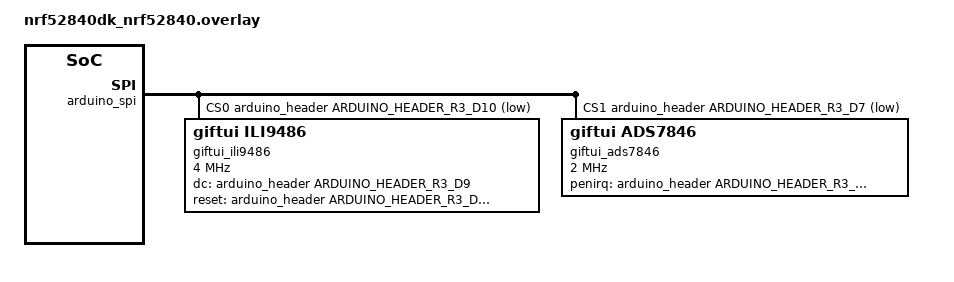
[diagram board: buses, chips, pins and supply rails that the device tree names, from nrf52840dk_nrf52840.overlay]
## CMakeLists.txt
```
cmake_minimum_required(VERSION 3.29)

find_package(Zephyr REQUIRED HINTS $ENV{ZEPHYR_BASE})

if(NOT DEFINED GIFTUI_SWIFT_TARGET)
    message(FATAL_ERROR "GIFTUI_SWIFT_TARGET must be supplied by scripts/nrf52840/build.sh")
endif()
set(CMAKE_Swift_COMPILER_TARGET "${GIFTUI_SWIFT_TARGET}")
set(CMAKE_Swift_COMPILATION_MODE wholemodule)
set(CMAKE_Swift_COMPILER_WORKS TRUE CACHE BOOL "Embedded Swift cross-compiler" FORCE)
project(GiftUIILI9486BringUp LANGUAGES C Swift)

target_sources(app PRIVATE
    src/ads7846.c
    src/fault.c
    src/heap_disabled.c
    src/ili9486.c
    src/main.c
)
target_include_directories(app PRIVATE include)

if(CONFIG_FP_HARDABI)
    set(giftui_swift_float_abi hard)
elseif(CONFIG_FP_SOFTABI)
    set(giftui_swift_float_abi soft)
else()
    message(FATAL_ERROR "Zephyr did not resolve an ARM float ABI")
endif()

get_target_property(zephyr_defines zephyr_interface INTERFACE_COMPILE_DEFINITIONS)
set(giftui_root "${CMAKE_CURRENT_SOURCE_DIR}/../../../..")
set(giftui_swift_module_dir "${CMAKE_CURRENT_BINARY_DIR}/swift-modules")

function(giftui_configure_swift_target target module_name)
    add_dependencies(${target} syscall_list_h_target)
    set_target_properties(${target} PROPERTIES
        Swift_MODULE_NAME "${module_name}"
        Swift_MODULE_DIRECTORY "${giftui_swift_module_dir}"
    )
    target_compile_options(${target} PRIVATE
        -parse-as-library
        -Osize
        -enable-experimental-feature Embedded
        -package-name GiftUI
        "SHELL:-Xfrontend -function-sections"
        "SHELL:-Xfrontend -disable-stack-protector"
        "SHELL:-Xcc -mfloat-abi=${giftui_swift_float_abi}"
        "SHELL:-Xcc -fshort-enums"
        "SHELL:-Xcc -fno-pic"
        "SHELL:-Xcc -fno-pie"
        "SHELL:-Xcc -I -Xcc ${ZEPHYR_SDK_INSTALL_DIR}/arm-zephyr-eabi/picolibc/include"
    )
    foreach(flag ${TOOLCHAIN_C_FLAGS})
        string(FIND "${flag}" "-imacro" is_imacro)
        string(FIND "${flag}" "-mfp16-format" is_mfp16)
        string(FIND "${flag}" "--sysroot" is_sysroot)
        if(is_imacro EQUAL -1 AND is_mfp16 EQUAL -1 AND is_sysroot EQUAL -1)
            target_compile_options(${target} PRIVATE "SHELL:-Xcc ${flag}")
        endif()
    endforeach()
    if(zephyr_defines)
        foreach(flag ${zephyr_defines})
            string(FIND "${flag}" "$<" is_expression)
            if(is_expression EQUAL -1)
                target_compile_options(${target} PRIVATE "SHELL:-Xcc -D${flag}")
            endif()
        endforeach()
    endif()
    target_include_directories(${target} PRIVATE
        "${giftui_swift_module_dir}"
        "$<TARGET_PROPERTY:app,INCLUDE_DIRECTORIES>"
    )
endfunction()

add_library(giftui_core OBJECT
    ${giftui_root}/Sources/GiftUI/GiftUI.swift
    ${giftui_root}/Sources/GiftUI/Geometry/Point.swift
    ${giftui_root}/Sources/GiftUI/Geometry/ProposedSize.swift
    ${giftui_root}/Sources/GiftUI/Geometry/Rect.swift
    ${giftui_root}/Sources/GiftUI/Geometry/Size.swift
    ${giftui_root}/Sources/GiftUI/Input/ActionID.swift
    ${giftui_root}/Sources/GiftUI/Input/HitRegion.swift
    ${giftui_root}/Sources/GiftUI/Input/InputEvent.swift
    ${giftui_root}/Sources/GiftUI/Layout/LayoutArithmetic.swift
    ${giftui_root}/Sources/GiftUI/Rendering/Color.swift
    ${giftui_root}/Sources/GiftUI/Rendering/RenderBackend.swift
    ${giftui_root}/Sources/GiftUI/Rendering/RenderOperation.swift
    ${giftui_root}/Sources/GiftUI/Rendering/RenderOperationSink.swift
    ${giftui_root}/Sources/GiftUI/Rendering/TextRun.swift
    ${giftui_root}/Sources/GiftUI/Runtime/RuntimeProfile.swift
    ${giftui_root}/Sources/GiftUI/View/PrimitiveView.swift
    ${giftui_root}/Sources/GiftUI/View/View.swift
    ${giftui_root}/Sources/GiftUI/View/ViewBuilder.swift
    ${giftui_root}/Sources/GiftUI/View/ViewVisitor.swift
    ${giftui_root}/Sources/GiftUI/Composition/ConditionalContent.swift
    ${giftui_root}/Sources/GiftUI/Composition/EmptyView.swift
    ${giftui_root}/Sources/GiftUI/Composition/OptionalContent.swift
    ${giftui_root}/Sources/GiftUI/Composition/TupleView.swift
    ${giftui_root}/Sources/GiftUI/Containers/HStack.swift
    ${giftui_root}/Sources/GiftUI/Containers/VStack.swift
    ${giftui_root}/Sources/GiftUI/PrimitiveViews/Button.swift
    ${giftui_root}/Sources/GiftUI/PrimitiveViews/Text.swift
)
giftui_configure_swift_target(giftui_core GiftUI)

add_library(giftui_builtin_font OBJECT
    ${giftui_root}/Sources/GiftUIBuiltinFont/BuiltinFont8x12.swift
    ${giftui_root}/Sources/GiftUIBuiltinFont/GiftUIBuiltinFont.swift
)
giftui_configure_swift_target(giftui_builtin_font GiftUIBuiltinFont)

add_library(giftui_runtime_static OBJECT
    ${giftui_root}/Sources/GiftUIRuntimeStatic/GiftUIRuntimeStatic.swift
    ${giftui_root}/Sources/GiftUIRuntimeStatic/StaticStateStorage.swift
    ${giftui_root}/Sources/GiftUIRuntimeStatic/StaticRuntime.swift
)
giftui_configure_swift_target(giftui_runtime_static GiftUIRuntimeStatic)
target_link_libraries(giftui_runtime_static PRIVATE giftui_core)

add_library(giftui_rgb565 OBJECT
    ${giftui_root}/Sources/GiftUIBackendRGB565/GiftUIBackendRGB565.swift
    ${giftui_root}/Sources/GiftUIBackendRGB565/RGB565Pixel.swift
    ${giftui_root}/Sources/GiftUIBackendRGB565/RGB565RetainedRenderer.swift
    ${giftui_root}/Sources/GiftUIBackendRGB565/RGB565RendererConfiguration.swift
    ${giftui_root}/Sources/GiftUIBackendRGB565/RGB565TileRenderer.swift
    ${giftui_root}/Sources/GiftUIBackendRGB565/RGB565TileStorage.swift
)
giftui_configure_swift_target(giftui_rgb565 GiftUIBackendRGB565)
target_link_libraries(giftui_rgb565 PRIVATE giftui_core giftui_builtin_font)

add_library(giftui_ads7846_input OBJECT
    ${giftui_root}/Sources/GiftUIInputADS7846/GiftUIInputADS7846.swift
    ${giftui_root}/Sources/GiftUIInputADS7846/ADS7846RawSample.swift
    ${giftui_root}/Sources/GiftUIInputADS7846/ADS7846Calibration.swift
    ${giftui_root}/Sources/GiftUIInputADS7846/ADS7846TouchProcessor.swift
)
giftui_configure_swift_target(giftui_ads7846_input GiftUIInputADS7846)
target_link_libraries(giftui_ads7846_input PRIVATE giftui_core)

add_library(giftui_thermostat_view OBJECT
    ${giftui_root}/Sources/GiftUIExampleThermostatPortableView/ThermostatModel.swift
    ${giftui_root}/Sources/GiftUIExampleThermostatPortableView/ThermostatPortableView.swift
)
giftui_configure_swift_target(
    giftui_thermostat_view
    GiftUIExampleThermostatPortableView
)
target_link_libraries(giftui_thermostat_view PRIVATE giftui_core)

add_library(app_swift OBJECT src/ILI9486BringUp.swift)
giftui_configure_swift_target(app_swift GiftUIILI9486BringUp)
target_link_libraries(app_swift PRIVATE
    giftui_ads7846_input
    giftui_core
    giftui_rgb565
    giftui_runtime_static
    giftui_thermostat_view
)

target_link_libraries(app PRIVATE
    app_swift
    giftui_ads7846_input
    giftui_builtin_font
    giftui_core
    giftui_rgb565
    giftui_runtime_static
    giftui_thermostat_view
)
set_target_properties(app PROPERTIES LINKER_LANGUAGE C)
```

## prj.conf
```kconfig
CONFIG_GPIO=y
CONFIG_SPI=y
CONFIG_FPU=y
CONFIG_SERIAL=y
CONFIG_CONSOLE=y
CONFIG_UART_CONSOLE=y
CONFIG_PRINTK=y
CONFIG_STDOUT_CONSOLE=y
CONFIG_BUILD_OUTPUT_HEX=y
CONFIG_BUILD_OUTPUT_BIN=y
CONFIG_OUTPUT_PRINT_MEMORY_USAGE=y
CONFIG_HEAP_MEM_POOL_SIZE=0
CONFIG_COMMON_LIBC_MALLOC_ARENA_SIZE=0
CONFIG_INIT_STACKS=y
CONFIG_THREAD_STACK_INFO=y
# The Embedded Swift renderer owns a 3,840-byte inline tile plus its bounded
# layout arena on the main stack. Reducing the tile from 15,360 bytes permits
# this conservative 24 KiB candidate; Phase 7 runtime high-water telemetry must
# confirm at least 25% margin on connected hardware before it is accepted.
CONFIG_MAIN_STACK_SIZE=24576
```

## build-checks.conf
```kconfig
swift-entry-symbol=giftui_swift_display_application_run
required-symbol=GiftUIBackendRGB565
required-symbol=GiftUIRuntimeStatic
required-symbol=GiftUIInputADS7846
zero-heap=true
```

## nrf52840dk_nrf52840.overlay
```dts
#include <zephyr/dt-bindings/gpio/arduino-header-r3.h>

/ {
	aliases {
		giftui-ads7846 = &giftui_ads7846;
		giftui-ili9486 = &giftui_ili9486;
	};
};

&arduino_spi {
	status = "okay";
	cs-gpios = <&arduino_header ARDUINO_HEADER_R3_D10 GPIO_ACTIVE_LOW>,
		     <&arduino_header ARDUINO_HEADER_R3_D7 GPIO_ACTIVE_LOW>;

	giftui_ili9486: display@0 {
		compatible = "giftui,ili9486";
		reg = <0>;
		spi-max-frequency = <4000000>;
		dc-gpios = <&arduino_header ARDUINO_HEADER_R3_D9 GPIO_ACTIVE_HIGH>;
		reset-gpios = <&arduino_header ARDUINO_HEADER_R3_D8 GPIO_ACTIVE_LOW>;
	};

	giftui_ads7846: touch@1 {
		compatible = "giftui,ads7846";
		reg = <1>;
		spi-max-frequency = <2000000>;
		penirq-gpios = <&arduino_header ARDUINO_HEADER_R3_D6 GPIO_ACTIVE_LOW>;
	};
};
```

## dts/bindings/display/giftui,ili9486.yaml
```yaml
title: GiftUI project-local PiScreen ILI9486 parallel-bridge display

description: |
  Hardware bring-up binding for the ILI9486 PiScreen used by GiftUI. The
  PiScreen SPI-to-16-bit-parallel converter carries zero-extended commands and
  parameters plus native RGB565 pixel words. The application owns controller
  initialization and bounded transfers.

compatible: "giftui,ili9486"

include: spi-device.yaml

properties:
  dc-gpios:
    type: phandle-array
    required: true
    description: Command/data select; active means pixel or command data.

  reset-gpios:
    type: phandle-array
    required: true
    description: Active-low controller hardware reset.

  backlight-gpios:
    type: phandle-array
    description: |
      Optional verified backlight enable. Omit until the PiScreen backlight
      polarity and transistor stage have been confirmed on the exact board.
```

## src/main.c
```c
#include "ads7846.h"
#include "giftui_fault.h"
#include "ili9486.h"

#include <zephyr/kernel.h>
#include <zephyr/sys/printk.h>

uint32_t giftui_display_uptime_ms(void)
{
    return k_uptime_get_32();
}

void giftui_display_sleep_ms(uint32_t milliseconds)
{
    k_msleep(milliseconds);
}

void giftui_display_log(int32_t event, int32_t value)
{
    switch (event) {
    case 1:
        printk("GiftUI ILI9486 initialization failed: %d\n", value);
        break;
    case 2:
        printk("GiftUI ILI9486 color bars failed: %d\n", value);
        break;
    case 3:
        printk("GiftUI ILI9486 color bars transferred in %d ms\n", value);
        break;
    case 4:
        printk("GiftUI thermostat transferred in %d ms\n", value);
        break;
    case 5:
        printk("GiftUI ILI9486 tile transfer failed: %d\n", value);
        break;
    case 6:
        printk("GiftUI static render failed\n");
        break;
    case 7:
        printk("GiftUI ADS7846 read failed: %d\n", value);
        break;
    case 8:
        printk("GiftUI ADS7846 touch calibration target %d\n", value);
        break;
    case 9:
        printk("GiftUI ADS7846 calibration failed: %d\n", value);
        break;
    case 10:
        printk("GiftUI ADS7846 calibration ready\n");
        break;
    case 11:
        printk("GiftUI thermostat target changed to %d\n", value);
        break;
    case 12:
        printk("GiftUI touch release to visible update: %d ms\n", value);
        break;
    default:
        printk("GiftUI display event %d: %d\n", event, value);
        break;
    }
}

void giftui_display_log_stack(void)
{
    size_t unused = 0U;
    const int result = k_thread_stack_space_get(k_current_get(), &unused);
    if (result != 0 || unused > CONFIG_MAIN_STACK_SIZE) {
        printk("GiftUI main stack measurement failed: %d\n", result);
        return;
    }

    printk("GiftUI main stack high-water: used=%u bytes, unused=%u bytes\n",
           (unsigned int)(CONFIG_MAIN_STACK_SIZE - unused),
           (unsigned int)unused);
}

void giftui_validation_heartbeat(uint32_t update_count)
{
    printk("GiftUI validation heartbeat: uptime=%u ms updates=%u "
           "faults=%u/%u/%u/%u/%u\n",
           k_uptime_get_32(),
           update_count,
           giftui_fault_count(GIFTUI_FAULT_CAPACITY),
           giftui_fault_count(GIFTUI_FAULT_DISPLAY_CONTROLLER),
           giftui_fault_count(GIFTUI_FAULT_DISPLAY_SPI),
           giftui_fault_count(GIFTUI_FAULT_TOUCH_CONTROLLER),
           giftui_fault_count(GIFTUI_FAULT_TOUCH_SPI));
    giftui_display_log_stack();
}

void giftui_touch_log_sample(int32_t target,
                             uint16_t x,
                             uint16_t y,
                             uint16_t z1,
                             uint16_t z2)
{
    printk("GiftUI ADS7846 target %d: x=%u y=%u z1=%u z2=%u\n",
           target, x, y, z1, z2);
}

extern int32_t giftui_swift_display_application_run(void);

int main(void)
{
    printk("GiftUI ILI9486 transfer configuration: tile=%u rows, "
           "segment<=%u bytes\n",
           ili9486_tile_height(),
           (unsigned int)ili9486_spi_segment_bytes());

    const int touch_result = ads7846_initialize();
    if (touch_result != 0) {
        giftui_fault_record(GIFTUI_FAULT_TOUCH_CONTROLLER, touch_result);
        printk("GiftUI ADS7846 initialization failed: %d\n", touch_result);
        return touch_result;
    }

    return giftui_swift_display_application_run();
}
```

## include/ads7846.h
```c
#ifndef GIFTUI_ADS7846_H
#define GIFTUI_ADS7846_H

#include <stdint.h>

struct ads7846_raw_sample {
    uint16_t x;
    uint16_t y;
    uint16_t z1;
    uint16_t z2;
};

int ads7846_initialize(void);
int ads7846_pen_is_down(void);
int ads7846_read_raw(struct ads7846_raw_sample *sample);
int ads7846_read_raw_values(uint16_t *x,
                            uint16_t *y,
                            uint16_t *z1,
                            uint16_t *z2);

#endif
```

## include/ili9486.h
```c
#ifndef GIFTUI_ILI9486_H
#define GIFTUI_ILI9486_H

#include <stddef.h>
#include <stdint.h>

#define GIFTUI_ILI9486_WIDTH 480U
#define GIFTUI_ILI9486_HEIGHT 320U
#define GIFTUI_ILI9486_BYTES_PER_PIXEL 2U
#define GIFTUI_ILI9486_TILE_HEIGHT 4U
#define GIFTUI_ILI9486_SPI_SEGMENT_BYTES 3840U
#define GIFTUI_ILI9486_MAX_TRANSFER_BYTES                                  \
    (GIFTUI_ILI9486_WIDTH * GIFTUI_ILI9486_TILE_HEIGHT *                  \
     GIFTUI_ILI9486_BYTES_PER_PIXEL)

int ili9486_initialize(void);
uint16_t ili9486_tile_height(void);
size_t ili9486_spi_segment_bytes(void);
int ili9486_write_rgb565(uint16_t x,
                         uint16_t y,
                         uint16_t width,
                         uint16_t height,
                         const uint8_t *pixels,
                         size_t byte_count);
int ili9486_fill_rgb565(uint16_t x,
                        uint16_t y,
                        uint16_t width,
                        uint16_t height,
                        uint16_t pixel);
int ili9486_render_color_bars(void);

#endif
```

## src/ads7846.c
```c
#include "ads7846.h"
#include "giftui_fault.h"

#include <errno.h>
#include <stddef.h>
#include <zephyr/drivers/gpio.h>
#include <zephyr/drivers/spi.h>

#define ADS7846_NODE DT_ALIAS(giftui_ads7846)

/* 12-bit, differential measurements; power down between conversions so the
 * active-low PENIRQ output is available while the application is idle. */
#define ADS7846_COMMAND_X 0xD0U
#define ADS7846_COMMAND_Y 0x90U
#define ADS7846_COMMAND_Z1 0xB0U
#define ADS7846_COMMAND_Z2 0xC0U

static const struct spi_dt_spec touch_spi = SPI_DT_SPEC_GET(
    ADS7846_NODE,
    SPI_OP_MODE_MASTER | SPI_WORD_SET(8) | SPI_TRANSFER_MSB);
static const struct gpio_dt_spec touch_penirq =
    GPIO_DT_SPEC_GET(ADS7846_NODE, penirq_gpios);

static int read_channel(uint8_t command, uint16_t *value)
{
    uint8_t transmit[3] = {command, 0U, 0U};
    uint8_t receive[3] = {0U, 0U, 0U};
    const struct spi_buf transmit_buffer = {
        .buf = transmit,
        .len = sizeof(transmit),
    };
    const struct spi_buf receive_buffer = {
        .buf = receive,
        .len = sizeof(receive),
    };
    const struct spi_buf_set transmit_buffers = {
        .buffers = &transmit_buffer,
        .count = 1U,
    };
    const struct spi_buf_set receive_buffers = {
        .buffers = &receive_buffer,
        .count = 1U,
    };

    const int result = spi_transceive_dt(
        &touch_spi,
        &transmit_buffers,
        &receive_buffers);
    if (result != 0) {
        giftui_fault_record(GIFTUI_FAULT_TOUCH_SPI, result);
        return result;
    }

    *value = (uint16_t)((((uint16_t)receive[1] << 8) | receive[2]) >> 3) &
             0x0FFFU;
    return 0;
}

int ads7846_initialize(void)
{
    if (!spi_is_ready_dt(&touch_spi) ||
        !gpio_is_ready_dt(&touch_penirq)) {
        return -ENODEV;
    }

    int result = 0;
    if (spi_cs_is_gpio_dt(&touch_spi)) {
        result = gpio_pin_configure_dt(
            &touch_spi.config.cs.gpio,
            GPIO_OUTPUT_INACTIVE);
        if (result != 0) {
            return result;
        }
    }

    return gpio_pin_configure_dt(
        &touch_penirq,
        GPIO_INPUT | GPIO_PULL_UP);
}

int ads7846_pen_is_down(void)
{
    const int result = gpio_pin_get_dt(&touch_penirq);
    if (result < 0) {
        giftui_fault_record(GIFTUI_FAULT_TOUCH_CONTROLLER, result);
    }
    return result;
}

int ads7846_read_raw(struct ads7846_raw_sample *sample)
{
    if (sample == NULL) {
        giftui_fault_record(GIFTUI_FAULT_CAPACITY, -EINVAL);
        return -EINVAL;
    }

    int result = read_channel(ADS7846_COMMAND_X, &sample->x);
    if (result != 0) {
        return result;
    }
    result = read_channel(ADS7846_COMMAND_Y, &sample->y);
    if (result != 0) {
        return result;
    }
    result = read_channel(ADS7846_COMMAND_Z1, &sample->z1);
    if (result != 0) {
        return result;
    }
    return read_channel(ADS7846_COMMAND_Z2, &sample->z2);
}

int ads7846_read_raw_values(uint16_t *x,
                            uint16_t *y,
                            uint16_t *z1,
                            uint16_t *z2)
{
    if (x == NULL || y == NULL || z1 == NULL || z2 == NULL) {
        giftui_fault_record(GIFTUI_FAULT_CAPACITY, -EINVAL);
        return -EINVAL;
    }
    struct ads7846_raw_sample sample;
    const int result = ads7846_read_raw(&sample);
    if (result != 0) {
        return result;
    }
    *x = sample.x;
    *y = sample.y;
    *z1 = sample.z1;
    *z2 = sample.z2;
    return 0;
}
```

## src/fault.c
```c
#include "giftui_fault.h"

#include <limits.h>
#include <zephyr/sys/printk.h>

static uint32_t fault_counts[GIFTUI_FAULT_CATEGORY_COUNT];

static const char *const fault_names[GIFTUI_FAULT_CATEGORY_COUNT] = {
    "capacity",
    "display-controller",
    "display-spi",
    "touch-controller",
    "touch-spi",
};

void giftui_fault_record(int32_t category, int32_t detail)
{
    if (category < 0 || category >= GIFTUI_FAULT_CATEGORY_COUNT) {
        return;
    }

    uint32_t count = fault_counts[category];
    if (count < UINT32_MAX) {
        count++;
        fault_counts[category] = count;
    }

    /* Preserve the first diagnostics, then log at powers of two so a failed
     * controller cannot flood UART or prevent the event loop from sleeping.
     */
    if (count <= 8U || (count & (count - 1U)) == 0U) {
        printk("GiftUI fault %s: detail=%d count=%u\n",
               fault_names[category], detail, count);
    }
}

uint32_t giftui_fault_count(int32_t category)
{
    if (category < 0 || category >= GIFTUI_FAULT_CATEGORY_COUNT) {
        return 0U;
    }
    return fault_counts[category];
}
```

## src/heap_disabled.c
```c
#include <errno.h>
#include <stddef.h>

/* Embedded Swift references this ABI entry point even when its retained code
 * is allocation-free. Keep the symbol fail-closed without linking an allocator.
 */
int posix_memalign(void **memptr, size_t alignment, size_t size)
{
    (void)alignment;
    (void)size;
    if (memptr != NULL) {
        *memptr = NULL;
    }
    return ENOMEM;
}
```

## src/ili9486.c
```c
#include "ili9486.h"
#include "giftui_fault.h"

#include <errno.h>
#include <stdbool.h>
#include <string.h>
#include <zephyr/drivers/gpio.h>
#include <zephyr/drivers/spi.h>
#include <zephyr/kernel.h>
#include <zephyr/sys/util.h>

#define ILI9486_NODE DT_ALIAS(giftui_ili9486)

#define ILI9486_SWRESET 0x01U
#define ILI9486_SLPOUT 0x11U
#define ILI9486_DISPOFF 0x28U
#define ILI9486_DISPON 0x29U
#define ILI9486_CASET 0x2AU
#define ILI9486_PASET 0x2BU
#define ILI9486_RAMWR 0x2CU
#define ILI9486_MADCTL 0x36U
#define ILI9486_PIXFMT 0x3AU

#define ILI9486_MAX_COMMAND_PARAMETERS 16U

#define ILI9486_MADCTL_MV BIT(5)
#define ILI9486_MADCTL_BGR BIT(3)
#define ILI9486_RGB565_FORMAT 0x55U

static const struct spi_dt_spec display_spi = SPI_DT_SPEC_GET(
    ILI9486_NODE,
    SPI_OP_MODE_MASTER | SPI_WORD_SET(8) | SPI_TRANSFER_MSB);
static const struct gpio_dt_spec display_dc =
    GPIO_DT_SPEC_GET(ILI9486_NODE, dc_gpios);
static const struct gpio_dt_spec display_reset =
    GPIO_DT_SPEC_GET(ILI9486_NODE, reset_gpios);
static uint8_t pixel_scratch[
    (GIFTUI_ILI9486_WIDTH / 8U) * GIFTUI_ILI9486_TILE_HEIGHT *
    GIFTUI_ILI9486_BYTES_PER_PIXEL];

BUILD_ASSERT(GIFTUI_ILI9486_SPI_SEGMENT_BYTES > 0U);
BUILD_ASSERT(
    GIFTUI_ILI9486_SPI_SEGMENT_BYTES % GIFTUI_ILI9486_BYTES_PER_PIXEL == 0U);
BUILD_ASSERT(
    GIFTUI_ILI9486_SPI_SEGMENT_BYTES <= GIFTUI_ILI9486_MAX_TRANSFER_BYTES);

#if DT_NODE_HAS_PROP(ILI9486_NODE, backlight_gpios)
static const struct gpio_dt_spec display_backlight =
    GPIO_DT_SPEC_GET(ILI9486_NODE, backlight_gpios);
#endif

static int write_bytes(const uint8_t *bytes, size_t byte_count)
{
    const struct spi_buf buffer = {
        .buf = (void *)bytes,
        .len = byte_count,
    };
    const struct spi_buf_set buffers = {
        .buffers = &buffer,
        .count = 1U,
    };

    const int result = spi_write_dt(&display_spi, &buffers);
    if (result != 0) {
        giftui_fault_record(GIFTUI_FAULT_DISPLAY_SPI, result);
    }
    return result;
}

/*
 * PiScreen and Waveshare rpi-lcd-35 boards place a serial-to-16-bit-parallel
 * converter in front of the ILI9486. Commands and 8-bit register parameters
 * must therefore be clocked as 16-bit values with a zero high byte. RGB565
 * pixel payloads are already complete 16-bit parallel values and must not be
 * expanded here.
 */
static int write_parallel_register_bytes(const uint8_t *bytes,
                                         size_t byte_count)
{
    if (byte_count > ILI9486_MAX_COMMAND_PARAMETERS) {
        giftui_fault_record(GIFTUI_FAULT_CAPACITY, -EMSGSIZE);
        return -EMSGSIZE;
    }

    uint8_t framed[ILI9486_MAX_COMMAND_PARAMETERS * 2U];
    for (size_t index = 0U; index < byte_count; ++index) {
        framed[index * 2U] = 0U;
        framed[index * 2U + 1U] = bytes[index];
    }
    return write_bytes(framed, byte_count * 2U);
}

static int write_pixel_segments(const uint8_t *bytes, size_t byte_count)
{
    size_t offset = 0U;
    while (offset < byte_count) {
        const size_t segment_byte_count = MIN(
            (size_t)GIFTUI_ILI9486_SPI_SEGMENT_BYTES,
            byte_count - offset);
        const int result = write_bytes(bytes + offset, segment_byte_count);
        if (result != 0) {
            return result;
        }
        offset += segment_byte_count;
    }
    return 0;
}

static int write_command(uint8_t command,
                         const uint8_t *parameters,
                         size_t parameter_count)
{
    int result = gpio_pin_set_dt(&display_dc, 0);
    if (result != 0) {
        return result;
    }
    result = write_parallel_register_bytes(&command, sizeof(command));
    if (result != 0 || parameter_count == 0U) {
        return result;
    }

    result = gpio_pin_set_dt(&display_dc, 1);
    if (result != 0) {
        return result;
    }
    return write_parallel_register_bytes(parameters, parameter_count);
}

static int configure_safe_state(void)
{
    int result;

    if (!spi_is_ready_dt(&display_spi) ||
        !gpio_is_ready_dt(&display_dc) ||
        !gpio_is_ready_dt(&display_reset)) {
        return -ENODEV;
    }

    if (spi_cs_is_gpio_dt(&display_spi)) {
        result = gpio_pin_configure_dt(
            &display_spi.config.cs.gpio,
            GPIO_OUTPUT_INACTIVE);
        if (result != 0) {
            return result;
        }
    }

    result = gpio_pin_configure_dt(&display_dc, GPIO_OUTPUT_INACTIVE);
    if (result != 0) {
        return result;
    }
    result = gpio_pin_configure_dt(&display_reset, GPIO_OUTPUT_ACTIVE);
    if (result != 0) {
        return result;
    }

#if DT_NODE_HAS_PROP(ILI9486_NODE, backlight_gpios)
    if (!gpio_is_ready_dt(&display_backlight)) {
        return -ENODEV;
    }
    result = gpio_pin_configure_dt(
        &display_backlight,
        GPIO_OUTPUT_INACTIVE);
    if (result != 0) {
        return result;
    }
#endif

    return 0;
}

static int set_address_window(uint16_t x,
                              uint16_t y,
                              uint16_t width,
                              uint16_t height)
{
    const uint16_t end_x = x + width - 1U;
    const uint16_t end_y = y + height - 1U;
    const uint8_t columns[] = {
        (uint8_t)(x >> 8),
        (uint8_t)x,
        (uint8_t)(end_x >> 8),
        (uint8_t)end_x,
    };
    const uint8_t pages[] = {
        (uint8_t)(y >> 8),
        (uint8_t)y,
        (uint8_t)(end_y >> 8),
        (uint8_t)end_y,
    };

    int result = write_command(ILI9486_CASET, columns, sizeof(columns));
    if (result != 0) {
        return result;
    }
    result = write_command(ILI9486_PASET, pages, sizeof(pages));
    if (result != 0) {
        return result;
    }
    return write_command(ILI9486_RAMWR, NULL, 0U);
}

int ili9486_initialize(void)
{
    int result = configure_safe_state();
    if (result != 0) {
        return result;
    }

    k_msleep(10);
    result = gpio_pin_set_dt(&display_reset, 0);
    if (result != 0) {
        return result;
    }
    k_msleep(120);

    result = write_command(ILI9486_SWRESET, NULL, 0U);
    if (result != 0) {
        return result;
    }
    k_msleep(120);

    result = write_command(ILI9486_DISPOFF, NULL, 0U);
    if (result != 0) {
        return result;
    }

    const uint8_t pixel_format = ILI9486_RGB565_FORMAT;
    result = write_command(ILI9486_PIXFMT, &pixel_format, 1U);
    if (result != 0) {
        return result;
    }

    /* First board milestone: 480x320 landscape with BGR color order. */
    const uint8_t memory_access = ILI9486_MADCTL_MV | ILI9486_MADCTL_BGR;
    result = write_command(ILI9486_MADCTL, &memory_access, 1U);
    if (result != 0) {
        return result;
    }

    result = write_command(ILI9486_SLPOUT, NULL, 0U);
    if (result != 0) {
        return result;
    }
    k_msleep(120);

    result = write_command(ILI9486_DISPON, NULL, 0U);
    if (result != 0) {
        return result;
    }
    k_msleep(20);

#if DT_NODE_HAS_PROP(ILI9486_NODE, backlight_gpios)
    result = gpio_pin_set_dt(&display_backlight, 1);
    if (result != 0) {
        return result;
    }
#endif

    return 0;
}

uint16_t ili9486_tile_height(void)
{
    return GIFTUI_ILI9486_TILE_HEIGHT;
}

size_t ili9486_spi_segment_bytes(void)
{
    return GIFTUI_ILI9486_SPI_SEGMENT_BYTES;
}

int ili9486_write_rgb565(uint16_t x,
                         uint16_t y,
                         uint16_t width,
                         uint16_t height,
                         const uint8_t *pixels,
                         size_t byte_count)
{
    if (pixels == NULL || width == 0U || height == 0U ||
        x >= GIFTUI_ILI9486_WIDTH || y >= GIFTUI_ILI9486_HEIGHT ||
        width > GIFTUI_ILI9486_WIDTH - x ||
        height > GIFTUI_ILI9486_HEIGHT - y) {
        giftui_fault_record(GIFTUI_FAULT_CAPACITY, -EINVAL);
        return -EINVAL;
    }

    const size_t expected_byte_count =
        (size_t)width * height * GIFTUI_ILI9486_BYTES_PER_PIXEL;
    if (byte_count != expected_byte_count ||
        byte_count > GIFTUI_ILI9486_MAX_TRANSFER_BYTES) {
        giftui_fault_record(GIFTUI_FAULT_CAPACITY, -EMSGSIZE);
        return -EMSGSIZE;
    }

    int result = set_address_window(x, y, width, height);
    if (result != 0) {
        return result;
    }
    result = gpio_pin_set_dt(&display_dc, 1);
    if (result != 0) {
        return result;
    }
    return write_pixel_segments(pixels, byte_count);
}

int ili9486_render_color_bars(void)
{
    static const uint16_t colors[] = {
        0xF800U,
        0xFFE0U,
        0x07E0U,
        0x07FFU,
        0x001FU,
        0xF81FU,
        0xFFFFU,
        0x0000U,
    };
    const uint16_t bar_width = GIFTUI_ILI9486_WIDTH / ARRAY_SIZE(colors);

    for (uint16_t bar = 0U; bar < ARRAY_SIZE(colors); ++bar) {
        const uint16_t color = colors[bar];
        for (size_t index = 0U; index < sizeof(pixel_scratch); index += 2U) {
            pixel_scratch[index] = (uint8_t)(color >> 8);
            pixel_scratch[index + 1U] = (uint8_t)color;
        }

        for (uint16_t y = 0U; y < GIFTUI_ILI9486_HEIGHT;
             y += GIFTUI_ILI9486_TILE_HEIGHT) {
            const uint16_t height = MIN(
                GIFTUI_ILI9486_TILE_HEIGHT,
                GIFTUI_ILI9486_HEIGHT - y);
            const size_t byte_count =
                (size_t)bar_width * height * GIFTUI_ILI9486_BYTES_PER_PIXEL;
            const int result = ili9486_write_rgb565(
                bar * bar_width,
                y,
                bar_width,
                height,
                pixel_scratch,
                byte_count);
            if (result != 0) {
                return result;
            }
        }
    }

    return 0;
}
```
